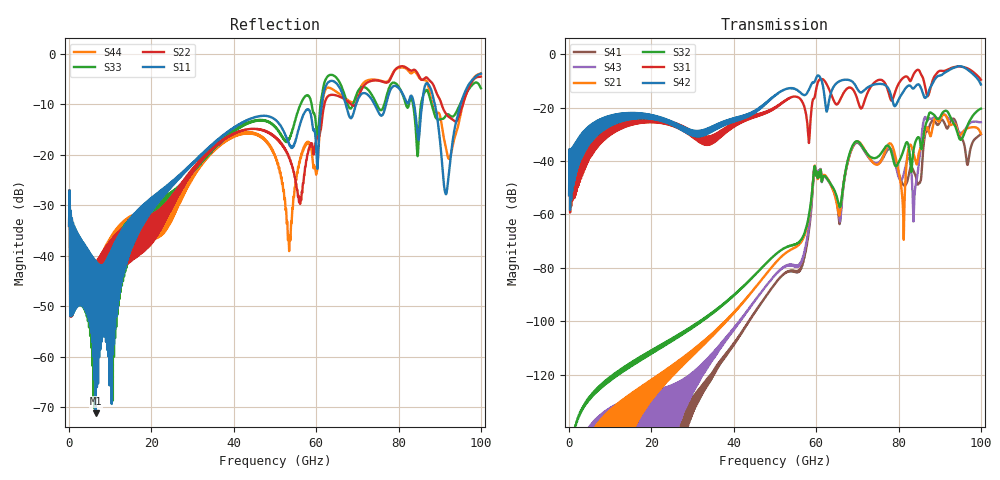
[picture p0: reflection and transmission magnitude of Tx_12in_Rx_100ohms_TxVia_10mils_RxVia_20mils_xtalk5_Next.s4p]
! Info: Touchstone file created by Circ.  Input file=Tx_12in_Rx_100ohms_TxVia_10mils_RxVia_20mils.circ
# Hz S RI R 50
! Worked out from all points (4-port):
!   10000 points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, 10 MHz to 100 GHz, reference 50 ohm
!   strongest paths, dB at 10 MHz, 25.01 GHz, 50.01 GHz, 75.01 GHz, 100 GHz:
!     S42: -52.8, -26.0, -15.3, -11.1, -11.3
!     S31: -52.8, -26.4, -19.9, -9.7, -9.5
!     S32: -178.0, -106.6, -75.1, -38.4, -20.4
!     S21: -, -116.8, -78.3, -41.3, -29.8
!     S43: -154.6, -123.9, -82.7, -40.7, -25.5
!     S41: -154.8, -139.7, -85.9, -41.1, -29.9
!   lowest |S11| = -71.2 dB at 6.48 GHz (marker M1), VSWR 1.00, Z = 50 - j0.026 ohm
!   |S11| at or under -10 dB: start of sweep to 61.37 GHz; 74.15 GHz to 76.99 GHz (2.842 GHz wide, 3.76 % of centre); 88.81 GHz to 95.1 GHz (6.282 GHz wide, 6.83 % of centre) (the widest 3 of 5)
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1e7  0.0182 0.00737  4.98e-11 -3.01e-11  0.000803 0.00215  -5.85e-09 1.72e-08
     4.98e-11 -3.01e-11  0.0184 0.00735  6.78e-10 1.05e-09  0.000799 0.00215
     0.000803 0.00215  6.78e-10 1.05e-09  0.0184 0.00735  -7.26e-09 1.71e-08
     -5.85e-09 1.72e-08  0.000799 0.00215  -7.26e-09 1.71e-08  0.0183 0.00738
6.48e9  -9.11e-05 -0.00026  2.87e-08 3.63e-08  0.0143 0.0329  1.78e-08 3.25e-09
        2.87e-08 3.63e-08  0.00762 0.00379  2.3e-07 4.35e-07  0.0251 0.0341
        0.0143 0.0329  2.3e-07 4.35e-07  0.000224 0.000634  1.21e-07 5.5e-08
        1.78e-08 3.25e-09  0.0251 0.0341  1.21e-07 5.5e-08  0.0068 0.00404
5.548e10  0.1532 -0.0528  0.000104 0.000239  -0.0327 0.1547  7.29e-05 4.87e-05
          0.000104 0.000239  -0.0178 0.0392  6.79e-05 0.000284  0.111 0.1788
          -0.0327 0.1547  6.79e-05 0.000284  0.2591 -0.0179  8.91e-05 6.82e-05
          7.29e-05 4.87e-05  0.111 0.1788  8.91e-05 6.82e-05  0.0249 -0.0616
5.981e10  0.021 -0.1507  0.00545 -0.00345  -0.0706 0.1679  0.00461 -0.004
          0.00545 -0.00345  0.0656 0.1098  0.00539 -0.00352  0.3082 0.1264
          -0.0706 0.1679  0.00539 -0.00352  0.0625 -0.217  0.00463 -0.0042
          0.00461 -0.004  0.3082 0.1264  0.00463 -0.0042  0.00113 0.0722
8.38e10  0.2905 -0.1096  0.0124 0.00186  -0.3643 -0.2482  0.00443 -0.00429
         0.0124 0.00186  -0.618 -0.3095  -0.0186 -0.0011  -0.0495 0.2289
         -0.3643 -0.2482  -0.0186 -0.0011  0.2292 -0.1285  -0.00147 0.000873
         0.00443 -0.00429  -0.0495 0.2289  -0.00147 0.000873  -0.5691 -0.3402
8.641e10  0.4503 -0.1593  0.0352 -0.00315  -0.0495 0.2524  0.0303 -0.00206
          0.0352 -0.00315  -0.5574 0.1333  -0.0251 0.0341  0.0755 0.1326
          -0.0495 0.2524  -0.0251 0.0341  0.2914 -0.3006  0.0335 0.0573
          0.0303 -0.00206  0.0755 0.1326  0.0335 0.0573  -0.522 0.1611
1e11  -0.632 0.00627  0.0118 -0.03  0.0724 0.3251  -0.029 0.0135
      0.0118 -0.03  -0.591 0.0388  0.06 0.0746  0.0989 0.2526
      0.0724 0.3251  0.06 0.0746  -0.4475 0.0793  -0.00114 -0.0533
      -0.029 0.0135  0.0989 0.2526  -0.00114 -0.0533  -0.6321 0.0866
